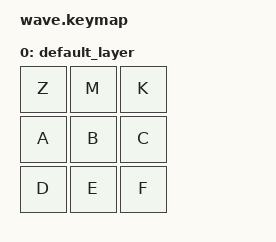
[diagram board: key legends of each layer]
#include <behaviors.dtsi>
#include <dt-bindings/zmk/keys.h>

/ {
    keymap {
        compatible = "zmk,keymap";

        default_layer { // Layer 0
            // -------------------------------------
            // |     Z     |     M     |     K     |
            // |     A     |     B     |     C     |
            // |     D     |     E     |     F     |
            bindings = <
                &kp Z    &kp M    &kp K
                &kp A    &kp B    &kp C
                &kp D    &kp E    &kp F
            >;
        };
    };
 };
